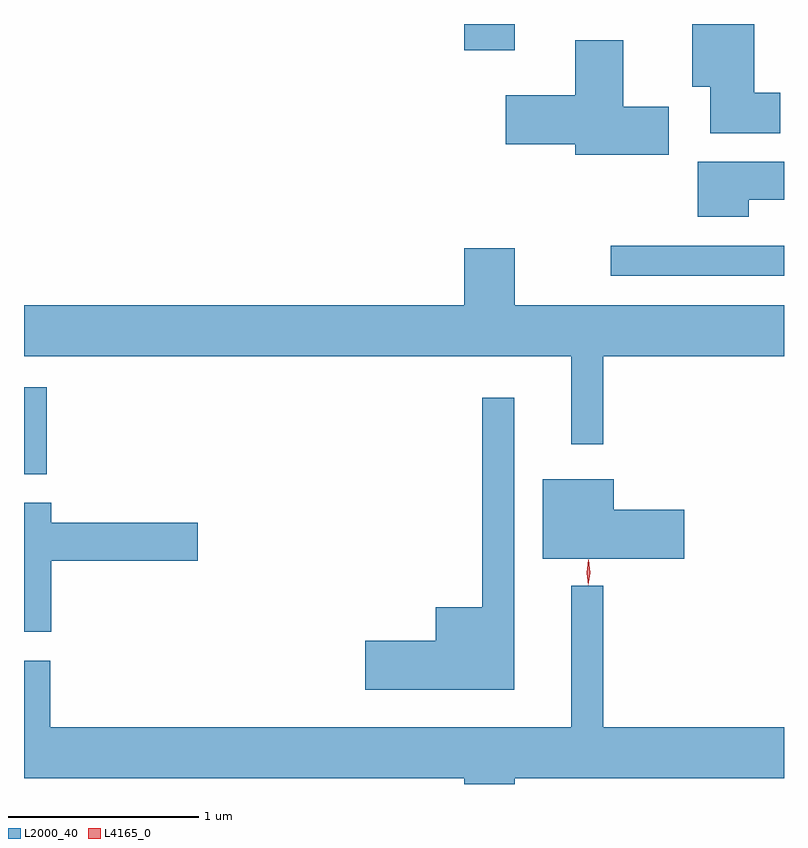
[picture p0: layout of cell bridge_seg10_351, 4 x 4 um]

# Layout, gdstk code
import gdstk
lib = gdstk.Library(unit=1e-6, precision=1e-09)
def R(c, l, rs):  # rectangles x0, y0, x1, y1
    for r in rs: c.add(gdstk.rectangle(r[:2], r[2:], *l))
def P(c, l, *ps):  # polygons
    for p in ps: c.add(gdstk.Polygon(p, *l))
L2000_40 = (2000, 40)
L4165_0 = (4165, 0)

bridge_seg10_351 = lib.new_cell('bridge_seg10_351')
R(bridge_seg10_351, L2000_40, [(1211.76,2151.036,1211.879,2151.494), (1214.848,2152.081,1215.76,2152.239), (1214.076,2153.266,1214.344,2153.405)])
P(bridge_seg10_351, L2000_40, [(1215.739,2153.044),(1215.604,2153.044),(1215.604,2153.405),(1215.276,2153.405),(1215.276,2153.076),(1215.371,2153.076),(1215.371,2152.831),(1215.739,2152.831)],
  [(1215.154,2152.969),(1214.914,2152.969),(1214.914,2153.319),(1214.661,2153.319),(1214.661,2153.029),(1214.296,2153.029),(1214.296,2152.771),(1214.661,2152.771),(1214.661,2152.716),(1215.154,2152.716)],
  [(1215.574,2152.481),(1215.76,2152.481),(1215.76,2152.679),(1215.306,2152.679),(1215.306,2152.391),(1215.574,2152.391)],
  [(1214.809,2151.656),(1215.76,2151.656),(1215.76,2151.924),(1214.344,2151.924),(1214.344,2152.224),(1214.076,2152.224),(1214.076,2151.924),(1211.76,2151.924),(1211.76,2151.656),(1214.641,2151.656),(1214.641,2151.193),(1214.809,2151.193)],
  [(1214.339,2151.438),(1214.171,2151.438),(1214.171,2150.334),(1213.926,2150.334),(1213.926,2150.159),(1213.556,2150.159),(1213.556,2149.901),(1214.339,2149.901)],
  [(1215.234,2150.849),(1214.864,2150.849),(1214.864,2151.009),(1214.491,2151.009),(1214.491,2150.591),(1215.234,2150.591)],
  [(1211.904,2150.581),(1212.674,2150.581),(1212.674,2150.779),(1211.904,2150.779),(1211.904,2150.884),(1211.76,2150.884),(1211.76,2150.206),(1211.904,2150.206)],
  [(1214.344,2149.436),(1215.76,2149.436),(1215.76,2149.704),(1214.809,2149.704),(1214.809,2150.448),(1214.641,2150.448),(1214.641,2149.704),(1211.899,2149.704),(1211.899,2150.054),(1211.76,2150.054),(1211.76,2149.436),(1214.076,2149.436),(1214.076,2149.405),(1214.344,2149.405)])
P(bridge_seg10_351, L4165_0, [(1214.729,2150.45),(1214.721,2150.518),(1214.731,2150.586),(1214.732,2150.586),(1214.732,2150.586),(1214.741,2150.518),(1214.73,2150.45),(1214.73,2150.45)],
  [(1214.73,2150.453),(1214.729,2150.454),(1214.721,2150.516),(1214.731,2150.579),(1214.732,2150.58),(1214.732,2150.579),(1214.741,2150.516),(1214.73,2150.454)])

lib.write_gds('bridge_seg10_351.gds')
